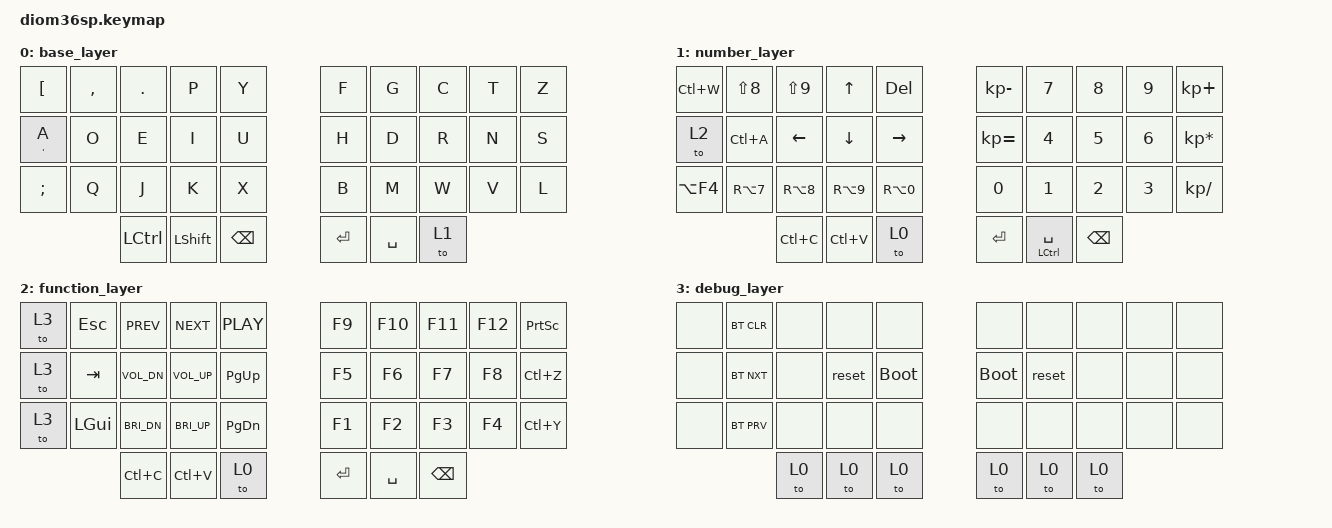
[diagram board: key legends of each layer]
#include <behaviors.dtsi>
#include <dt-bindings/zmk/keys.h>
#include <dt-bindings/zmk/bt.h>

/ {

	keymap {
		compatible = "zmk,keymap";

		base_layer {--
			bindings = <
				&kp LBKT   &kp COMMA  &kp DOT    &kp P      &kp Y      &kp F      &kp G      &kp C      &kp T      &kp Z
				&mt APOS A &kp O      &kp E      &kp I      &kp U      &kp H      &kp D      &kp R      &kp N      &kp S
				&kp SEMI   &kp Q      &kp J      &kp K      &kp X      &kp B      &kp M      &kp W      &kp V      &kp L
				                      &kp LCTRL  &kp LSHIFT &kp BSPC   &kp ENTER  &kp SPACE  &to 1 
			>;
		};
		
		number_layer {
			bindings = <
				&kp LC(W)  &kp LS(N8) &kp LS(N9) &kp UP     &kp DEL    &kp KP_MINUS &kp N7          &kp N8     &kp N9     &kp KP_PLUS
				&to 2      &kp LC(A)  &kp LEFT   &kp DOWN   &kp RIGHT  &kp KP_EQUAL &kp N4          &kp N5     &kp N6     &kp KP_MULTIPLY
				&kp LA(F4) &kp RA(N7) &kp RA(N8) &kp RA(N9) &kp RA(N0) &kp N0       &kp N1          &kp N2     &kp N3     &kp KP_DIVIDE
				                      &kp LC(C)  &kp LC(V)  &to 0      &kp ENTER    &mt LCTRL SPACE &kp BSPC 
			>;
		};
		
		function_layer {
			bindings = <
				&to 3      &kp ESC    &kp C_PREV   &kp C_NEXT   &kp C_PLAY &kp F9     &kp F10     &kp F11    &kp F12    &kp PSCRN
				&to 3      &kp TAB    &kp C_VOL_DN &kp C_VOL_UP &kp PG_UP  &kp F5     &kp F6      &kp F7     &kp F8     &kp LC(Z)
				&to 3      &kp LGUI   &kp C_BRI_DN &kp C_BRI_UP &kp PG_DN  &kp F1     &kp F2      &kp F3     &kp F4     &kp LC(Y)
				                      &kp LC(C)    &kp LC(V)    &to 0      &kp ENTER  &kp SPACE   &kp BSPC 
			>;
		};
		
		debug_layer {
			bindings = <
				&none      &bt BT_CLR &none      &none      &none       &none       &none       &none      &none     &none
				&none      &bt BT_NXT &none      &reset     &bootloader &bootloader &reset      &none      &none     &none
				&none      &bt BT_PRV &none      &none      &none       &none       &none       &none      &none     &none
				                      &to 0      &to 0      &to 0       &to 0       &to 0       &to 0
			>;
		};


	};
};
